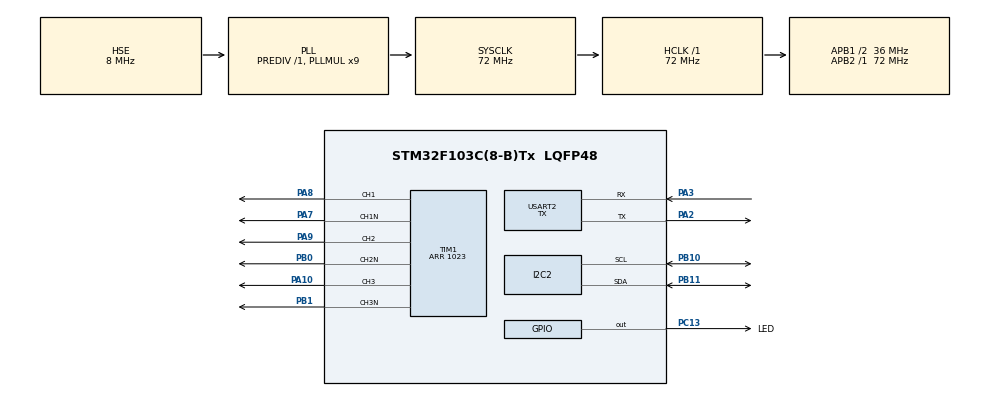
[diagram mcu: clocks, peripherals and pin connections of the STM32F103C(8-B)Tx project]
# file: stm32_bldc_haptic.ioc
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Dma.Request0=USART2_TX
Dma.USART2_TX.0.Direction=DMA_MEMORY_TO_PERIPH
Dma.USART2_TX.0.Instance=DMA1_Channel7
Dma.USART2_TX.0.MemDataAlignment=DMA_MDATAALIGN_BYTE
Dma.USART2_TX.0.MemInc=DMA_MINC_ENABLE
Dma.USART2_TX.0.Mode=DMA_NORMAL
Dma.USART2_TX.0.PeriphDataAlignment=DMA_PDATAALIGN_BYTE
Dma.USART2_TX.0.PeriphInc=DMA_PINC_DISABLE
Dma.USART2_TX.0.Priority=DMA_PRIORITY_VERY_HIGH
I2C2.I2C_Mode=I2C_Fast
Mcu.Family=STM32F1
Mcu.Name=STM32F103C(8-B)Tx
Mcu.Package=LQFP48
NVIC.DMA1_Channel7_IRQn=true\:0\:0\:false\:false\:true\:false\:true
NVIC.I2C2_ER_IRQn=true\:0\:0\:false\:false\:true\:true\:true
NVIC.I2C2_EV_IRQn=true\:0\:0\:false\:false\:true\:true\:true
NVIC.PriorityGroup=NVIC_PRIORITYGROUP_4
NVIC.TIM2_IRQn=true\:0\:0\:false\:false\:true\:true\:true
NVIC.USART2_IRQn=true\:0\:0\:false\:false\:true\:true\:true
PA10.Signal=S_TIM1_CH3
PA13.Mode=Serial_Wire
PA13.Signal=SYS_JTMS-SWDIO
PA14.Mode=Serial_Wire
PA14.Signal=SYS_JTCK-SWCLK
PA2.Mode=Asynchronous
PA2.Signal=USART2_TX
PA3.Mode=Asynchronous
PA3.Signal=USART2_RX
PA7.Mode=PWM Generation1 CH1 CH1N
PA7.Signal=TIM1_CH1N
PA8.Signal=S_TIM1_CH1
PA9.Signal=S_TIM1_CH2
PB0.Mode=PWM Generation2 CH2 CH2N
PB0.Signal=TIM1_CH2N
PB1.Mode=PWM Generation3 CH3 CH3N
PB1.Signal=TIM1_CH3N
PB10.Mode=I2C
PB10.Signal=I2C2_SCL
PB11.Mode=I2C
PB11.Signal=I2C2_SDA
PC13-TAMPER-RTC.GPIO_Label=LED
PC13-TAMPER-RTC.Signal=GPIO_Output
PD0-OSC_IN.Mode=HSE-External-Oscillator
PD0-OSC_IN.Signal=RCC_OSC_IN
PD1-OSC_OUT.Mode=HSE-External-Oscillator
PD1-OSC_OUT.Signal=RCC_OSC_OUT
ProjectManager.HeapSize=0x200
ProjectManager.StackSize=0x400
ProjectManager.TargetToolchain=STM32CubeIDE
RCC.AHBFreq_Value=72000000
RCC.APB1CLKDivider=RCC_HCLK_DIV2
RCC.APB1Freq_Value=36000000
RCC.APB1TimFreq_Value=72000000
RCC.APB2Freq_Value=72000000
RCC.APB2TimFreq_Value=72000000
RCC.HCLKFreq_Value=72000000
RCC.PLLMUL=RCC_PLL_MUL9
RCC.PLLSourceVirtual=RCC_PLLSOURCE_HSE
RCC.SYSCLKFreq_VALUE=72000000
RCC.SYSCLKSource=RCC_SYSCLKSOURCE_PLLCLK
RCC.USBFreq_Value=48000000
RCC.USBPrescaler=RCC_USBCLKSOURCE_PLL_DIV1_5
SH.S_TIM1_CH1.0=TIM1_CH1,PWM Generation1 CH1 CH1N
SH.S_TIM1_CH2.0=TIM1_CH2,PWM Generation2 CH2 CH2N
SH.S_TIM1_CH3.0=TIM1_CH3,PWM Generation3 CH3 CH3N
TIM1.Channel-PWM\ Generation1\ CH1\ CH1N=TIM_CHANNEL_1
TIM1.Channel-PWM\ Generation2\ CH2\ CH2N=TIM_CHANNEL_2
TIM1.Channel-PWM\ Generation3\ CH3\ CH3N=TIM_CHANNEL_3
TIM1.CounterMode=TIM_COUNTERMODE_CENTERALIGNED3
TIM1.DeadTime=20
TIM1.OCNPolarity_2=TIM_OCNPOLARITY_HIGH
TIM1.Period=1023
TIM1.Pulse-PWM\ Generation1\ CH1\ CH1N=128
TIM1.Pulse-PWM\ Generation2\ CH2\ CH2N=256
TIM1.Pulse-PWM\ Generation3\ CH3\ CH3N=768
TIM2.Period=3000
TIM2.Prescaler=5
USART2.Mode=MODE_TX
USART2.VirtualMode=VM_ASYNC
VP_TIM1_VS_ClockSourceINT.Mode=Internal
VP_TIM2_VS_ClockSourceINT.Mode=Internal
board=custom

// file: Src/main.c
/* USER CODE BEGIN Header */
/**
  ******************************************************************************
  * @file           : main.c
  * @brief          : Main program body
  ******************************************************************************
  * @attention
  *
  * <h2><center>&copy; Copyright (c) 2021 STMicroelectronics.
  * All rights reserved.</center></h2>
  *
  * This software component is licensed by ST under BSD 3-Clause license,
  * the "License"; You may not use this file except in compliance with the
  * License. You may obtain a copy of the License at:
  *                        opensource.org/licenses/BSD-3-Clause
  *
  ******************************************************************************
  */
/* USER CODE END Header */

#include "main.h"

/* USER CODE BEGIN Includes */
#include "AS5600.h"
#include "motor_control.h"
#include <stdio.h>
/* USER CODE END Includes */

I2C_HandleTypeDef hi2c2;

TIM_HandleTypeDef htim1;
TIM_HandleTypeDef htim2;

UART_HandleTypeDef huart2;
DMA_HandleTypeDef hdma_usart2_tx;

/* USER CODE BEGIN PV */
AS5600_TypeDef hAS5600;
/* USER CODE END PV */

void SystemClock_Config(void);
static void MX_GPIO_Init(void);
static void MX_DMA_Init(void);
static void MX_TIM1_Init(void);
static void MX_TIM2_Init(void);
static void MX_I2C2_Init(void);
static void MX_USART2_UART_Init(void);

/* USER CODE BEGIN 0 */
uint16_t as5600_angle = 0;
/* USER CODE END 0 */

int main(void)
{
  /* USER CODE BEGIN 1 */
  hAS5600.i2cHandle = &hi2c2;
  hAS5600.i2cAddr = 0x36<<1;
  uint16_t raw_angle = 0;
  /* USER CODE END 1 */

  /* MCU Configuration--------------------------------------------------------*/

  /* Reset of all peripherals, Initializes the Flash interface and the Systick. */
  HAL_Init();

  /* USER CODE BEGIN Init */
  MOTOR_init(htim1, huart2);
  /* USER CODE END Init */

  /* Configure the system clock */
  SystemClock_Config();

  /* Initialize all configured peripherals */
  MX_GPIO_Init();
  MX_DMA_Init();
  MX_TIM1_Init();
  MX_TIM2_Init();
  MX_I2C2_Init();
  MX_USART2_UART_Init();
  /* USER CODE BEGIN 2 */
 // HAL_TIM_Base_Start_IT( &htim1 );
  AS5600_Init(&hAS5600);
    __HAL_TIM_SET_COMPARE( &htim1, TIM_CHANNEL_1, 512 );
  	__HAL_TIM_SET_COMPARE( &htim1, TIM_CHANNEL_2, 512 );
  	__HAL_TIM_SET_COMPARE( &htim1, TIM_CHANNEL_3, 512 );
    HAL_TIM_PWM_Start( &htim1, TIM_CHANNEL_1 );
    HAL_TIM_PWM_Start( &htim1, TIM_CHANNEL_2 );
    HAL_TIM_PWM_Start( &htim1, TIM_CHANNEL_3 );
    HAL_TIMEx_PWMN_Start( &htim1, TIM_CHANNEL_1 );
    HAL_TIMEx_PWMN_Start( &htim1, TIM_CHANNEL_2 );
    HAL_TIMEx_PWMN_Start( &htim1, TIM_CHANNEL_3 );
    HAL_TIM_Base_Start_IT(&htim2);
  /* USER CODE END 2 */

  /* Infinite loop */
  /* USER CODE BEGIN WHILE */
    //__disable_irq();
  while (1)
  {
	  AS5600_GetRawAngle(&hAS5600, &raw_angle);

	  as5600_angle = raw_angle;
	 // __enable_irq();
    /* USER CODE END WHILE */

  }
}

void SystemClock_Config(void)
{
  RCC_OscInitTypeDef RCC_OscInitStruct = {0};
  RCC_ClkInitTypeDef RCC_ClkInitStruct = {0};

  /** Initializes the CPU, AHB and APB busses clocks
  */
  RCC_OscInitStruct.OscillatorType = RCC_OSCILLATORTYPE_HSE;
  RCC_OscInitStruct.HSEState = RCC_HSE_ON;
  RCC_OscInitStruct.HSEPredivValue = RCC_HSE_PREDIV_DIV1;
  RCC_OscInitStruct.HSIState = RCC_HSI_ON;
  RCC_OscInitStruct.PLL.PLLState = RCC_PLL_ON;
  RCC_OscInitStruct.PLL.PLLSource = RCC_PLLSOURCE_HSE;
  RCC_OscInitStruct.PLL.PLLMUL = RCC_PLL_MUL9;
  if (HAL_RCC_OscConfig(&RCC_OscInitStruct) != HAL_OK)
  {
    Error_Handler();
  }
  /** Initializes the CPU, AHB and APB busses clocks
  */
  RCC_ClkInitStruct.ClockType = RCC_CLOCKTYPE_HCLK|RCC_CLOCKTYPE_SYSCLK
                              |RCC_CLOCKTYPE_PCLK1|RCC_CLOCKTYPE_PCLK2;
  RCC_ClkInitStruct.SYSCLKSource = RCC_SYSCLKSOURCE_PLLCLK;
  RCC_ClkInitStruct.AHBCLKDivider = RCC_SYSCLK_DIV1;
  RCC_ClkInitStruct.APB1CLKDivider = RCC_HCLK_DIV2;
  RCC_ClkInitStruct.APB2CLKDivider = RCC_HCLK_DIV1;

  if (HAL_RCC_ClockConfig(&RCC_ClkInitStruct, FLASH_LATENCY_2) != HAL_OK)
  {
    Error_Handler();
  }
}

static void MX_I2C2_Init(void)
{

  hi2c2.Instance = I2C2;
  hi2c2.Init.ClockSpeed = 400000;
  hi2c2.Init.DutyCycle = I2C_DUTYCYCLE_2;
  hi2c2.Init.OwnAddress1 = 0;
  hi2c2.Init.AddressingMode = I2C_ADDRESSINGMODE_7BIT;
  hi2c2.Init.DualAddressMode = I2C_DUALADDRESS_DISABLE;
  hi2c2.Init.OwnAddress2 = 0;
  hi2c2.Init.GeneralCallMode = I2C_GENERALCALL_DISABLE;
  hi2c2.Init.NoStretchMode = I2C_NOSTRETCH_DISABLE;
  if (HAL_I2C_Init(&hi2c2) != HAL_OK)
  {
    Error_Handler();
  }

}

static void MX_TIM1_Init(void)
{

  TIM_ClockConfigTypeDef sClockSourceConfig = {0};
  TIM_MasterConfigTypeDef sMasterConfig = {0};
  TIM_OC_InitTypeDef sConfigOC = {0};
  TIM_BreakDeadTimeConfigTypeDef sBreakDeadTimeConfig = {0};

  htim1.Instance = TIM1;
  htim1.Init.Prescaler = 0;
  htim1.Init.CounterMode = TIM_COUNTERMODE_CENTERALIGNED3;
  htim1.Init.Period = 1023;
  htim1.Init.ClockDivision = TIM_CLOCKDIVISION_DIV1;
  htim1.Init.RepetitionCounter = 0;
  htim1.Init.AutoReloadPreload = TIM_AUTORELOAD_PRELOAD_DISABLE;
  if (HAL_TIM_Base_Init(&htim1) != HAL_OK)
  {
    Error_Handler();
  }
  sClockSourceConfig.ClockSource = TIM_CLOCKSOURCE_INTERNAL;
  if (HAL_TIM_ConfigClockSource(&htim1, &sClockSourceConfig) != HAL_OK)
  {
    Error_Handler();
  }
  if (HAL_TIM_PWM_Init(&htim1) != HAL_OK)
  {
    Error_Handler();
  }
  sMasterConfig.MasterOutputTrigger = TIM_TRGO_RESET;
  sMasterConfig.MasterSlaveMode = TIM_MASTERSLAVEMODE_DISABLE;
  if (HAL_TIMEx_MasterConfigSynchronization(&htim1, &sMasterConfig) != HAL_OK)
  {
    Error_Handler();
  }
  sConfigOC.OCMode = TIM_OCMODE_PWM1;
  sConfigOC.Pulse = 128;
  sConfigOC.OCPolarity = TIM_OCPOLARITY_HIGH;
  sConfigOC.OCNPolarity = TIM_OCNPOLARITY_HIGH;
  sConfigOC.OCFastMode = TIM_OCFAST_DISABLE;
  sConfigOC.OCIdleState = TIM_OCIDLESTATE_RESET;
  sConfigOC.OCNIdleState = TIM_OCNIDLESTATE_RESET;
  if (HAL_TIM_PWM_ConfigChannel(&htim1, &sConfigOC, TIM_CHANNEL_1) != HAL_OK)
  {
    Error_Handler();
  }
  sConfigOC.Pulse = 256;
  if (HAL_TIM_PWM_ConfigChannel(&htim1, &sConfigOC, TIM_CHANNEL_2) != HAL_OK)
  {
    Error_Handler();
  }
  sConfigOC.Pulse = 768;
  if (HAL_TIM_PWM_ConfigChannel(&htim1, &sConfigOC, TIM_CHANNEL_3) != HAL_OK)
  {
    Error_Handler();
  }
  sBreakDeadTimeConfig.OffStateRunMode = TIM_OSSR_DISABLE;
  sBreakDeadTimeConfig.OffStateIDLEMode = TIM_OSSI_DISABLE;
  sBreakDeadTimeConfig.LockLevel = TIM_LOCKLEVEL_OFF;
  sBreakDeadTimeConfig.DeadTime = 20;
  sBreakDeadTimeConfig.BreakState = TIM_BREAK_DISABLE;
  sBreakDeadTimeConfig.BreakPolarity = TIM_BREAKPOLARITY_HIGH;
  sBreakDeadTimeConfig.AutomaticOutput = TIM_AUTOMATICOUTPUT_DISABLE;
  if (HAL_TIMEx_ConfigBreakDeadTime(&htim1, &sBreakDeadTimeConfig) != HAL_OK)
  {
    Error_Handler();
  }
  HAL_TIM_MspPostInit(&htim1);

}

static void MX_TIM2_Init(void)
{

  TIM_ClockConfigTypeDef sClockSourceConfig = {0};
  TIM_MasterConfigTypeDef sMasterConfig = {0};

  htim2.Instance = TIM2;
  htim2.Init.Prescaler = 5;
  htim2.Init.CounterMode = TIM_COUNTERMODE_UP;
  htim2.Init.Period = 3000;
  htim2.Init.ClockDivision = TIM_CLOCKDIVISION_DIV1;
  htim2.Init.AutoReloadPreload = TIM_AUTORELOAD_PRELOAD_DISABLE;
  if (HAL_TIM_Base_Init(&htim2) != HAL_OK)
  {
    Error_Handler();
  }
  sClockSourceConfig.ClockSource = TIM_CLOCKSOURCE_INTERNAL;
  if (HAL_TIM_ConfigClockSource(&htim2, &sClockSourceConfig) != HAL_OK)
  {
    Error_Handler();
  }
  sMasterConfig.MasterOutputTrigger = TIM_TRGO_RESET;
  sMasterConfig.MasterSlaveMode = TIM_MASTERSLAVEMODE_DISABLE;
  if (HAL_TIMEx_MasterConfigSynchronization(&htim2, &sMasterConfig) != HAL_OK)
  {
    Error_Handler();
  }

}

static void MX_USART2_UART_Init(void)
{

  huart2.Instance = USART2;
  huart2.Init.BaudRate = 115200;
  huart2.Init.WordLength = UART_WORDLENGTH_8B;
  huart2.Init.StopBits = UART_STOPBITS_1;
  huart2.Init.Parity = UART_PARITY_NONE;
  huart2.Init.Mode = UART_MODE_TX;
  huart2.Init.HwFlowCtl = UART_HWCONTROL_NONE;
  huart2.Init.OverSampling = UART_OVERSAMPLING_16;
  if (HAL_UART_Init(&huart2) != HAL_OK)
  {
    Error_Handler();
  }

}

static void MX_DMA_Init(void)
{

  /* DMA controller clock enable */
  __HAL_RCC_DMA1_CLK_ENABLE();

  /* DMA interrupt init */
  /* DMA1_Channel7_IRQn interrupt configuration */
  HAL_NVIC_SetPriority(DMA1_Channel7_IRQn, 0, 0);
  HAL_NVIC_EnableIRQ(DMA1_Channel7_IRQn);

}

static void MX_GPIO_Init(void)
{
  GPIO_InitTypeDef GPIO_InitStruct = {0};

  /* GPIO Ports Clock Enable */
  __HAL_RCC_GPIOC_CLK_ENABLE();
  __HAL_RCC_GPIOD_CLK_ENABLE();
  __HAL_RCC_GPIOA_CLK_ENABLE();
  __HAL_RCC_GPIOB_CLK_ENABLE();

  /*Configure GPIO pin Output Level */
  HAL_GPIO_WritePin(LED_GPIO_Port, LED_Pin, GPIO_PIN_RESET);

  /*Configure GPIO pin : LED_Pin */
  GPIO_InitStruct.Pin = LED_Pin;
  GPIO_InitStruct.Mode = GPIO_MODE_OUTPUT_PP;
  GPIO_InitStruct.Pull = GPIO_NOPULL;
  GPIO_InitStruct.Speed = GPIO_SPEED_FREQ_LOW;
  HAL_GPIO_Init(LED_GPIO_Port, &GPIO_InitStruct);

}

/* USER CODE BEGIN 4 */
void HAL_TIM_PeriodElapsedCallback(TIM_HandleTypeDef *htim)
{

   // MOTOR_process(as5600_angle);

}
/* USER CODE END 4 */

void Error_Handler(void)
{
}

/************************ (C) COPYRIGHT STMicroelectronics *****END OF FILE****/
